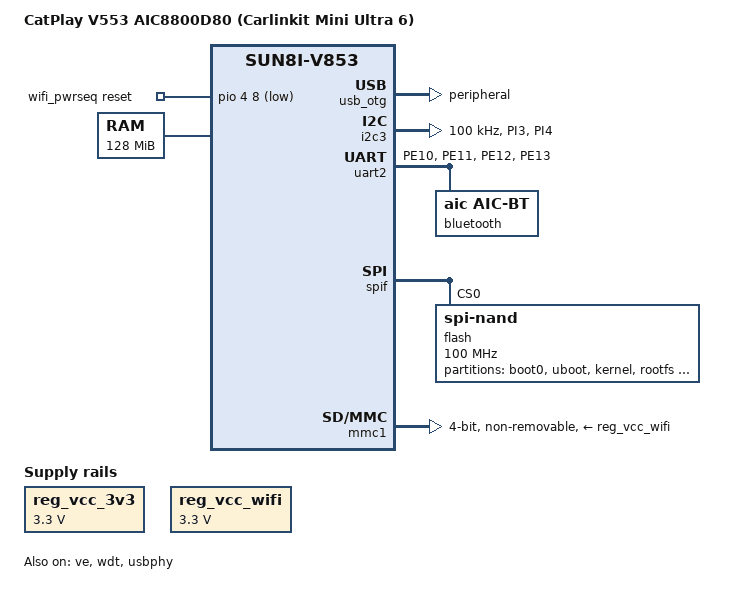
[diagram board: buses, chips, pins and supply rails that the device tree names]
// SPDX-License-Identifier: GPL-2.0-only
/dts-v1/;
#include "sun8i-v853.dtsi"
#include <dt-bindings/gpio/gpio.h>

/ {
	model = "CatPlay V553 AIC8800D80 (Carlinkit Mini Ultra 6)";
	compatible = "catplay,v553-aic8800d80", "catplay,v851s3-aic8800d80", "allwinner,v851s", "allwinner,sun8i-v853";
	/delete-node/ thermal-zones;

	boot-params {
		compatible = "catplay,boot-params";
		boot-delay = <4>; /* seconds, added to the persist startup delay */
	};

	reg_vcc_3v3: vcc-3v3 {
		compatible = "regulator-fixed";
		regulator-name = "vcc-3v3";
		regulator-min-microvolt = <3300000>;
		regulator-max-microvolt = <3300000>;
	};

	/* The V553 chip_en GPIO has not been confirmed. */
	reg_vcc_wifi: regulator-vcc-wifi {
		compatible = "regulator-fixed";
		regulator-name = "vcc_wifi";
		regulator-min-microvolt = <3300000>;
		regulator-max-microvolt = <3300000>;
		/* gpio = <&pio 4 9 GPIO_ACTIVE_HIGH>; */ /* PE9: unconfirmed */
		/* enable-active-high; */
	};

	wifi_pwrseq: wifi-pwrseq {
		compatible = "mmc-pwrseq-simple";
		reset-gpios = <&pio 4 8 GPIO_ACTIVE_LOW>; /* PE8: wlan_regon */
		post-power-on-delay-ms = <100>;
		power-off-delay-us = <5000000>;
	};

	aliases {
		serial0 = &uart0;
		i2c3 = &i2c3;
	};

	chosen {
		bootargs = C2A_BOOTARGS;
	};

	memory@40000000 {
		device_type = "memory";
		reg = <0x40000000 0x08000000>;
	};
};

&mbus {
	status = "disabled";
};

&ve {
	status = "okay";
};

&wdt {
	status = "okay";
};

&usb_otg {
	dr_mode = "peripheral";
	usb-role-switch;
	status = "okay";
};

&usbphy {
	status = "okay";
};

&dcxo {
	clock-frequency = <24000000>;
};

&pio {
	vcc-pc-supply = <&reg_vcc_3v3>;

	i2c3_pi3_pins: i2c3-pi3-pins {
		pins = "PI3", "PI4";
		function = "i2c3";
		allwinner,pinmux = <6>;
		bias-pull-up;
	};

	/* The vendor DT routes four-wire UART2 to PE10-PE13. */
	uart2_pe10_pins: uart2-pe10-pins {
		pins = "PE10", "PE11", "PE12", "PE13";
		function = "uart2";
		allwinner,pinmux = <6>;
		bias-pull-up;
	};
};

&mmc1_pins {
	pins = "PG0", "PG1", "PG2", "PG3", "PG4", "PG5";
	allwinner,pinmux = <2>;
};

/* Route TWI3 to PI3/PI4; PH14 remains a WLAN input. Device unknown. */
&i2c3 {
	pinctrl-names = "default";
	pinctrl-0 = <&i2c3_pi3_pins>;
	clock-frequency = <100000>;
	status = "okay";
};

&uart2 {
	status = "okay";
	pinctrl-names = "default";
	pinctrl-0 = <&uart2_pe10_pins>;
	uart-has-rtscts;

	bluetooth {
		compatible = "aic,aic-bt";
		/* TODO: 1.5M baudrate unstable - random command timeouts */
		max-speed = <115200 /* 1500000 */>;
		uart-has-rtscts;
	};
};

/* SPI sampling mode 1 selects a half-cycle delay; 18 is the tuned delay tap. */
&spi0 {
	compatible = "allwinner,sun8i-v851-spi", "allwinner,sun50i-r329-spi";
	allwinner,sample-mode = <1>;
	allwinner,sample-delay = <18>;
	pinctrl-0 = <&spi0_pins>;
	pinctrl-names = "default";
	status = "disabled";

	flash@0 {
		compatible = "spi-nand";
		reg = <0>;
		spi-max-frequency = <100000000>;
		spi-rx-bus-width = <4>;
		spi-tx-bus-width = <4>;

		partitions {
			compatible = "fixed-partitions";
			#address-cells = <1>;
			#size-cells = <1>;

			partition@0 {
				label = "boot0";
				reg = <0x00000000 0x00100000>;
			};
			partition@100000 {
				label = "uboot";
				reg = <0x00100000 0x00100000>;
			};
			partition@200000 {
				label = "kernel";
				reg = <0x00200000 0x00800000>;
			};
			partition@a00000 {
				label = "rootfs";
				reg = <0x00a00000 0x01000000>;
			};
			partition@1a00000 {
				label = "persist";
				reg = <0x01a00000 0x01000000>;
			};
		};
	};
};

&spif {
	allwinner,sample-mode = <0>;
	allwinner,sample-delay = <25>;
	status = "okay";

	flash@0 {
		compatible = "spi-nand";
		reg = <0>;
		spi-max-frequency = <100000000>;
		// spi-cpol;
		spi-cpha;
		spi-rx-bus-width = <4>;
		spi-tx-bus-width = <4>;

		partitions {
			compatible = "fixed-partitions";
			#address-cells = <1>;
			#size-cells = <1>;

			partition@0 {
				label = "boot0";
				reg = <0x00000000 0x00100000>;
			};
			partition@100000 {
				label = "uboot";
				reg = <0x00100000 0x00100000>;
			};
			partition@200000 {
				label = "kernel";
				reg = <0x00200000 0x00800000>;
			};
			partition@a00000 {
				label = "rootfs";
				reg = <0x00a00000 0x01000000>;
			};
			partition@1a00000 {
				label = "persist";
				reg = <0x01a00000 0x01000000>;
			};
		};
	};
};

&mmc1 {
	pinctrl-names = "default";
	pinctrl-0 = <&mmc1_pins>;
	max-frequency = <50000000>;
	bus-width = <4>;
	non-removable;
	cap-sdio-irq;
	ignore-pm-notify;
	keep-power-in-suspend;
	no-mmc;
	no-sd;
	vmmc-supply = <&reg_vcc_wifi>;
	mmc-pwrseq = <&wifi_pwrseq>;
	c2a,btmode_pin = <238>; /* PH14: vendor wifi_antenna_select */
	c2a,btmode-bias-pull-down; /* Vendor WLAN pinctrl: PH14 gpio_in, pull=2 */
	/* TODO: 1.5M baudrate unstable - random command timeouts */
	c2a,uart_baud = <115200 /* 1500000 */>;
	c2a,uart_flowctrl = <1>;
	status = "okay";
};
